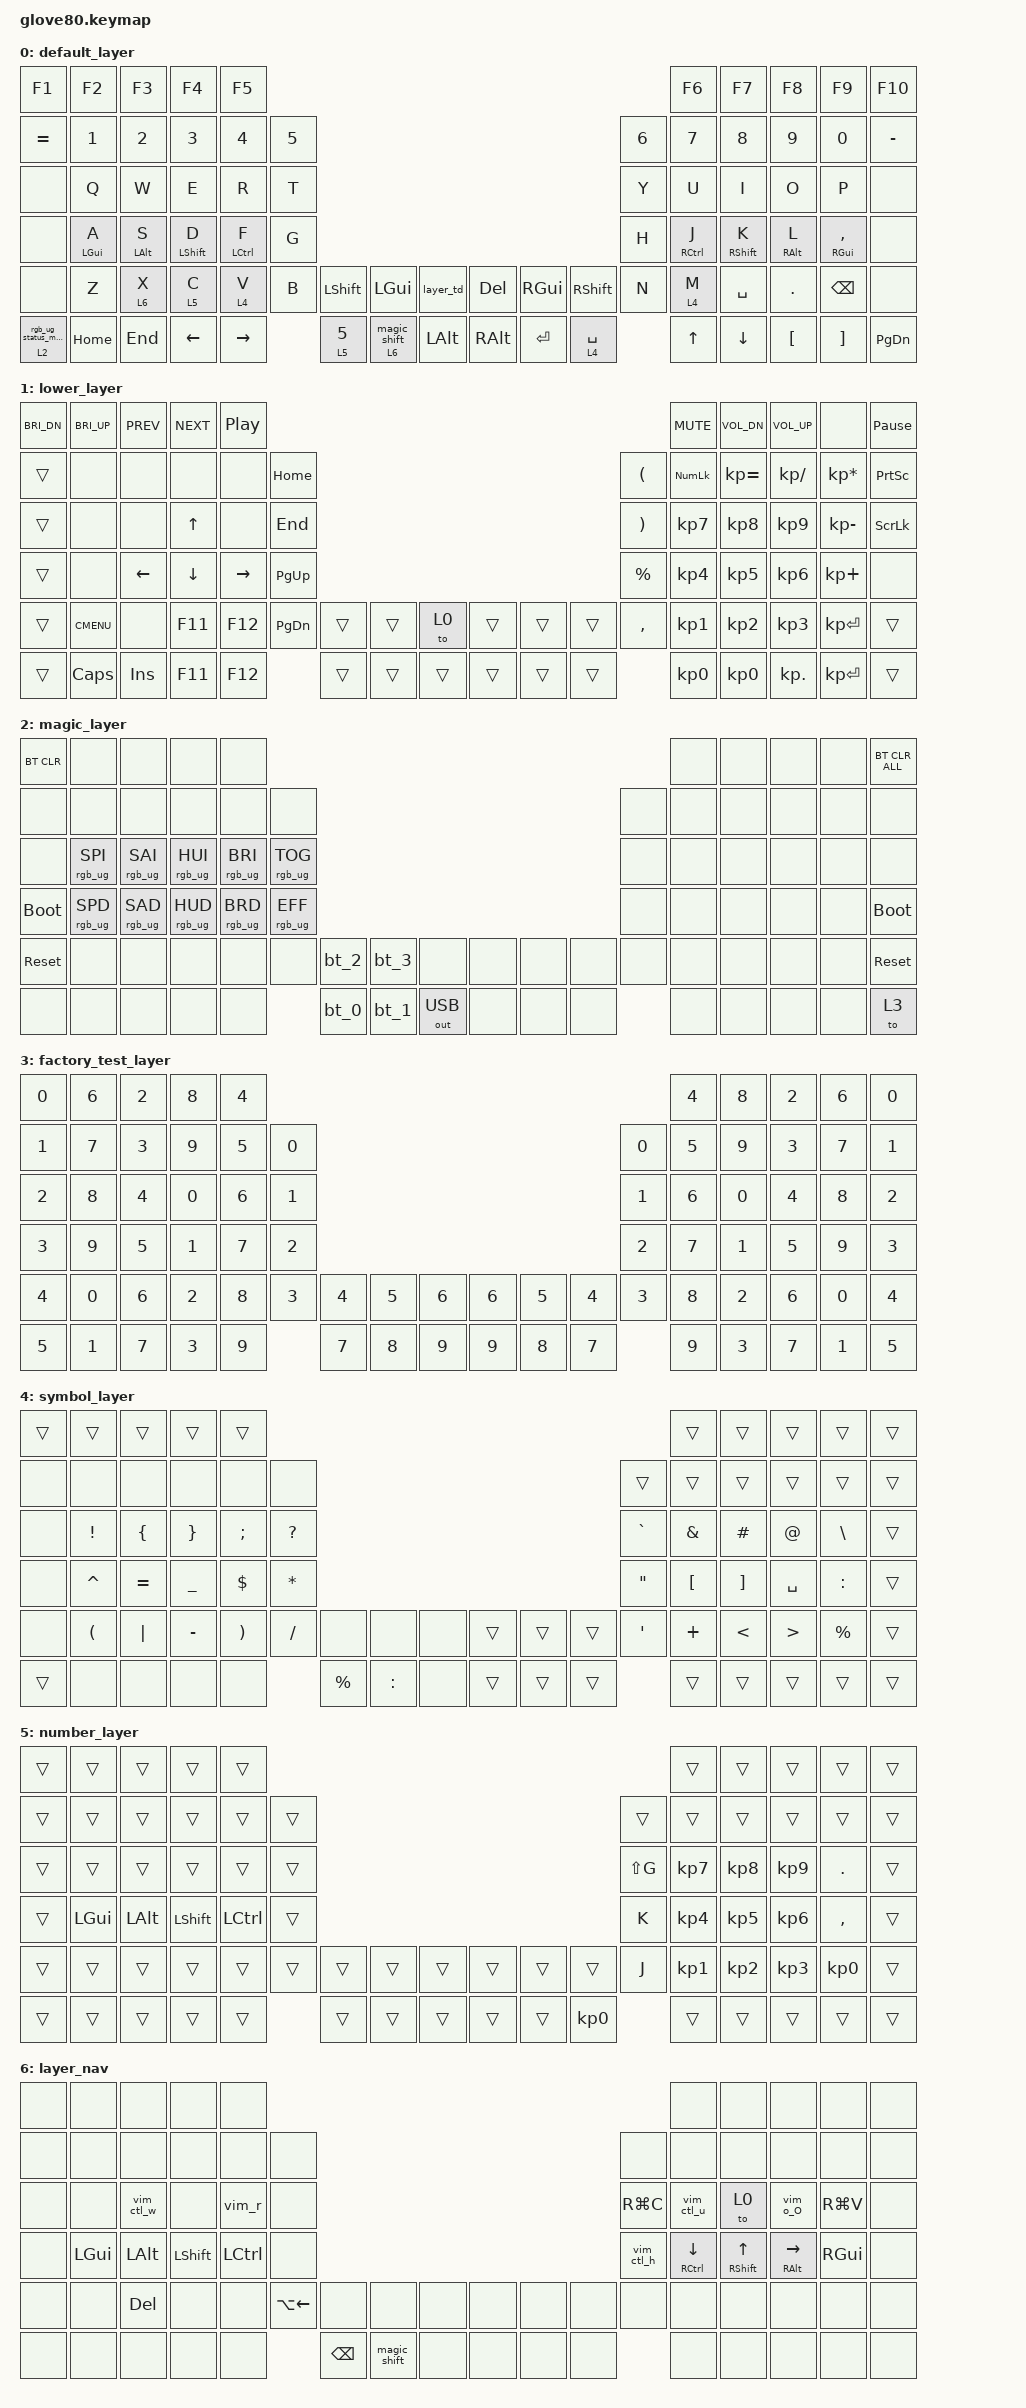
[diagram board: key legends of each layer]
/*
 * Copyright (c) 2020 The ZMK Contributors
 *
 * SPDX-License-Identifier: MIT
 */

#include "zmk-helpers/helper.h"
#include <behaviors/num_word.dtsi>
#include <behaviors.dtsi>
#include <dt-bindings/zmk/bt.h>
#include <dt-bindings/zmk/keys.h>
#include <dt-bindings/zmk/outputs.h>
#include <dt-bindings/zmk/rgb.h>

#define HYPER LC(LS(LG(LALT)))

// layers

#define DEFAULT 0
#define LOWER 1
#define MAGIC 2
#define FACTORY_TEST 3

// Global settings, taken from urob config
// https://github.com/urob/zmk-config/blob/784d3ea9351425e9cc11adc45ca34825546e2e99/config/base.keymap#L31

&sk {
    release-after-ms = <900>;
    quick-release;
};

&lt { quick-tap-ms = <150>; };

/ {
    behaviors {
        // For the "layer" key, it'd nice to be able to use it as either a shift or a toggle.
        // Configure it as a tap dance, so the first tap (or hold) is a &mo and the second tap is a &to

        layer_td: tap_dance_0 {
            compatible = "zmk,behavior-tap-dance";
            label = "LAYER_TAP_DANCE";
            #binding-cells = <0>;
            tapping-term-ms = <200>;
            bindings = <&mo 1>, <&to 1>;
        };

        magic: magic_hold_tap {
            compatible = "zmk,behavior-hold-tap";
            label = "MAGIC_HOLD_TAP";
            #binding-cells = <2>;
            flavor = "tap-preferred";
            tapping-term-ms = <200>;
            bindings = <&mo>, <&rgb_ug_status_macro>;
        };

        hml: hml {
            compatible = "zmk,behavior-hold-tap";
            label = "HML";
            bindings = <&kp>, <&kp>;

            #binding-cells = <2>;
            tapping-term-ms = <280>;
            quick-tap-ms = <175>;
            require-prior-idle-ms = <150>;
            flavor = "balanced";
            hold-trigger-key-positions = <16 28 40 58 5 17 29 41 59 75 6 7 8 9 18 19 20 21 30 31 32 33 42 43 44 45 60 61 62 63 76 77 78 79 40 58 58>;
            hold-trigger-on-release;
        };

        hmr: hmr {
            compatible = "zmk,behavior-hold-tap";
            label = "HMR";
            bindings = <&kp>, <&kp>;

            #binding-cells = <2>;
            tapping-term-ms = <280>;
            quick-tap-ms = <175>;
            require-prior-idle-ms = <150>;
            flavor = "balanced";
            hold-trigger-on-release;
            hold-trigger-key-positions = <0 1 10 11 12 13 14 15 22 23 24 25 26 27 34 35 36 37 38 39 46 47 48 49 50 51 64 65 66 67 68 2 3 4>;
        };

        magic_shift: magic_shift {
            compatible = "zmk,behavior-mod-morph";
            label = "MAGIC_SHIFT";
            bindings = <&sk LSHFT>, <&caps_word>;

            #binding-cells = <0>;
            mods = <(MOD_RSFT|MOD_LSFT)>;
        };

        vim_dd_taps: vim_dd_taps {
            compatible = "zmk,behavior-tap-dance";
            label = "VIM_DD_TAPS";
            #binding-cells = <0>;
            bindings = <&none>, <&vim_dd>;
        };

        vim_o_O: vim_o_O {
            compatible = "zmk,behavior-mod-morph";
            label = "VIM_O_O";
            bindings = <&vim_o>, <&vim_shft_o>;

            #binding-cells = <0>;
            mods = <(MOD_LSFT)>;
        };

        vim_ctl_w: vim_ctl_w {
            compatible = "zmk,behavior-mod-morph";
            label = "VIM_CTL_W";
            bindings = <&kp LA(RIGHT)>, <&kp LA(BACKSPACE)>;

            #binding-cells = <0>;
            mods = <(MOD_RCTL)>;
        };

        vim_ctl_u: vim_ctl_u {
            compatible = "zmk,behavior-mod-morph";
            label = "VIM_CTL_U";
            bindings = <&kp RG(Z)>, <&kp LG(BACKSPACE)>;

            #binding-cells = <0>;
            mods = <(MOD_LCTL)>;
        };

        vim_r: vim_r {
            compatible = "zmk,behavior-mod-morph";
            label = "VIM_R";
            bindings = <&none>, <&kp RG(RS(Z))>;

            #binding-cells = <0>;
            mods = <(MOD_RCTL)>;
        };

        vim_ctl_h: vim_ctl_h {
            compatible = "zmk,behavior-mod-morph";
            label = "VIM_CTL_H";
            bindings = <&kp LEFT>, <&kp H>;

            #binding-cells = <0>;
            mods = <(MOD_LCTL)>;
        };

        magic_num: magic_num {
            compatible = "zmk,behavior-hold-tap";
            label = "MAGIC_NUM";
            bindings = <&mo>, <&num_word>;

            #binding-cells = <2>;
            tapping-term-ms = <200>;
            quick-tap-ms = <175>;
            flavor = "balanced";
        };

        shift_nav: shift_nav {
            compatible = "zmk,behavior-hold-tap";
            label = "SHIFT_NAV";
            bindings = <&mo>, <&magic_shift>;

            #binding-cells = <2>;
            tapping-term-ms = <200>;
            flavor = "balanced";
            quick-tap-ms = <175>;
        };

        hml_layer: hml_layer {
            compatible = "zmk,behavior-hold-tap";
            label = "HML_LAYER";
            bindings = <&mo>, <&kp>;

            #binding-cells = <2>;
            tapping-term-ms = <280>;
            quick-tap-ms = <175>;
            require-prior-idle-ms = <150>;
            flavor = "balanced";
            hold-trigger-key-positions = <16 28 40 58 5 17 29 41 59 75 6 7 8 9 18 19 20 21 30 31 32 33 42 43 44 45 60 61 62 63 76 77 78 79 40 58 58>;
            hold-trigger-on-release;
        };

        hmr_layer: hmr_layer {
            compatible = "zmk,behavior-hold-tap";
            label = "HMR_LAYER";
            bindings = <&mo>, <&kp>;

            #binding-cells = <2>;
            tapping-term-ms = <280>;
            quick-tap-ms = <175>;
            require-prior-idle-ms = <150>;
            flavor = "balanced";
            hold-trigger-on-release;
            hold-trigger-key-positions = <0 1 10 11 12 13 14 15 22 23 24 25 26 27 34 35 36 37 38 39 46 47 48 49 50 51 64 65 66 67 68 2 3 4>;
        };
    };

    macros {
        rgb_ug_status_macro: rgb_ug_status_macro_0 {
            label = "RGB_UG_STATUS";
            compatible = "zmk,behavior-macro";
            #binding-cells = <0>;
            bindings = <&rgb_ug RGB_STATUS>;
        };

        bt_0: bt_profile_macro_0 {
            label = "BT_0";
            compatible = "zmk,behavior-macro";
            #binding-cells = <0>;
            bindings = <&out OUT_BLE &bt BT_SEL 0>;
        };

        bt_1: bt_profile_macro_1 {
            label = "BT_1";
            compatible = "zmk,behavior-macro";
            #binding-cells = <0>;
            bindings = <&out OUT_BLE &bt BT_SEL 1>;
        };

        bt_2: bt_profile_macro_2 {
            label = "BT_2";
            compatible = "zmk,behavior-macro";
            #binding-cells = <0>;
            bindings = <&out OUT_BLE &bt BT_SEL 2>;
        };

        bt_3: bt_profile_macro_3 {
            label = "BT_3";
            compatible = "zmk,behavior-macro";
            #binding-cells = <0>;
            bindings = <&out OUT_BLE &bt BT_SEL 3>;
        };

        vim_a: vim_a {
            compatible = "zmk,behavior-macro";
            #binding-cells = <0>;
            bindings = <&to 0 &kp RIGHT>;
            label = "VIM_A";
        };

        vim_o: vim_o {
            compatible = "zmk,behavior-macro";
            #binding-cells = <0>;
            bindings = <&kp LG(RIGHT) &kp LS(ENTER)>;
            label = "VIM_O";
        };

        vim_e: vim_e {
            compatible = "zmk,behavior-macro";
            #binding-cells = <0>;
            bindings = <&kp LA(RIGHT) &kp LEFT_ARROW>;
            label = "VIM_E";
        };

        vim_dd: vim_dd {
            compatible = "zmk,behavior-macro";
            #binding-cells = <0>;
            bindings = <&kp LG(RIGHT) &kp LG(BACKSPACE)>;
            label = "VIM_DD";
        };

        vim_shft_o: vim_shft_o {
            compatible = "zmk,behavior-macro";
            #binding-cells = <0>;
            bindings = <&kp LG(LEFT) &kp LS(ENTER)>;
            label = "VIM_SHFT_O";
        };
    };

    combos {
        compatible = "zmk,combos";

        // [a|s|d|f| | |j|k|l|:]
        // [z|x|c|v| | |m|,|.|%]
        // [x|x|-|-| | |-|-|-|-] = Tilde
        // [-|-|-|-| | |-|-|-|-]

        Tilde {
            bindings = <&kp TILDE>;
            key-positions = <36 35>;
            layers = <4>;
        };

        // [_|x|x|-| | |-|-|-|-] = Sticky Number
        // [_|x|x|-| | |-|-|-|-] = Hold Number

        StickyNumLayer {
            bindings = <&sl 5>;
            key-positions = <37 36>;
        };

        HoldNumLayer {
            bindings = <&mo 5>;
            key-positions = <49 48>;
        };

        // [_|_|x|x| | |-|-|-|-] = Magic Shift
        // [_|-|x|x| | |-|-|-|-] = Hold Nav

        MagicShiftCombo {
            bindings = <&magic_shift>;
            key-positions = <37 38>;
        };

        MomNavCombo {
            bindings = <&mo 6>;
            key-positions = <49 50>;
        };

        // [_|_|-|-| | |x|x|-|-] = Escape
        // [-|-|-|-| | |-|-|-|-]

        EscapeCombo {
            bindings = <&kp ESCAPE>;
            key-positions = <41 42>;
            timeout-ms = <30>;
            layers = <0>;
        };

        // [_|_|-|-| | |_|x|x|-] = Tab
        // [-|-|-|-| | |-|-|-|-]

        TabCombo {
            bindings = <&kp TAB>;
            key-positions = <43 42>;
        };
    };

    keymap {
        compatible = "zmk,keymap";

        default_layer {
            // ---------------------------------------------------------------------------------------------------------------------------------
            // |  F1   |  F2 |  F3 |  F4  |  F5  |                                                               |  F6   |  F7   |  F8  |   F9  |  F10 |
            // |  =    |  1  |  2  |  3   |  4   |  5   |                                                 |  6   |   7   |   8   |  9   |   0   |   -  |
            // |  TAB  |  Q  |  W  |  E   |  R   |  T   |                                                 |  Y   |   U   |   I   |  O   |   P   |   \  |
            // |  ESC  |  A  |  S  |  D   |  F   |  G   |                                                 |  H   |   J   |   K   |  L   |   ;   |   '  |
            // |   `   |  Z  |  X  |  C   |  V   |  B   | LSHFT | LGUI  | LOWER | | DEL   | RGUI  | RSHFT |  N   |   M   |   ,   |  .   |   /   | PGUP |
            // | MAGIC | HOME| END | LEFT | RIGHT|      | BSPC  | ESC   | LALT  | | RALT  | RET   | SPACE |      |  UP   | DOWN  |  [   |   ]   | PGDN |

            bindings = <
&kp F1      &kp F2           &kp F3          &kp F4             &kp F5                                                                                                        &kp F6          &kp F7              &kp F8       &kp F9                &kp F10
&kp EQUAL   &kp N1           &kp N2          &kp N3             &kp N4          &kp N5                                                                                &kp N6  &kp N7          &kp N8              &kp N9       &kp N0                &kp MINUS
&none       &kp Q            &kp W           &kp E              &kp R           &kp T                                                                                 &kp Y   &kp U           &kp I               &kp O        &kp P                 &none
&none       &hml LEFT_GUI A  &hml LALT S     &hml LEFT_SHIFT D  &hml LCTRL F    &kp G                                                                                 &kp H   &hmr RCTRL J    &hmr RIGHT_SHIFT K  &hmr RALT L  &hmr RIGHT_GUI COMMA  &none
&none       &kp Z            &hml_layer 6 X  &hml_layer 5 C     &hml_layer 4 V  &kp B   &kp LSHFT       &kp LGUI        &layer_td  &kp DELETE  &kp RGUI  &kp RSHFT    &kp N   &hmr_layer 4 M  &kp SPACE           &kp DOT      &kp BACKSPACE         &none
&magic 2 0  &kp HOME         &kp END         &kp LEFT           &kp RIGHT               &magic_num 5 5  &shift_nav 6 0  &kp LALT   &kp RALT    &kp RET   &lt 4 SPACE          &kp UP          &kp DOWN            &kp LBKT     &kp RBKT              &kp PG_DN
            >;
        };

        lower_layer {
            bindings = <
&kp C_BRI_DN  &kp C_BRI_UP  &kp C_PREV  &kp C_NEXT  &kp C_PP                                                                         &kp C_MUTE  &kp C_VOL_DN  &kp C_VOL_UP   &none            &kp PAUSE_BREAK
&trans        &none         &none       &none       &none      &kp HOME                                                   &kp LPAR   &kp KP_NUM  &kp KP_EQUAL  &kp KP_DIVIDE  &kp KP_MULTIPLY  &kp PSCRN
&trans        &none         &none       &kp UP      &none      &kp END                                                    &kp RPAR   &kp KP_N7   &kp KP_N8     &kp KP_N9      &kp KP_MINUS     &kp SLCK
&trans        &none         &kp LEFT    &kp DOWN    &kp RIGHT  &kp PG_UP                                                  &kp PRCNT  &kp KP_N4   &kp KP_N5     &kp KP_N6      &kp KP_PLUS      &none
&trans        &kp K_CMENU   &none       &kp F11     &kp F12    &kp PG_DN  &trans  &trans  &to 0   &trans  &trans  &trans  &kp COMMA  &kp KP_N1   &kp KP_N2     &kp KP_N3      &kp KP_ENTER     &trans
&trans        &kp CAPS      &kp INS     &kp F11     &kp F12               &trans  &trans  &trans  &trans  &trans  &trans             &kp KP_N0   &kp KP_N0     &kp KP_DOT     &kp KP_ENTER     &trans
            >;
        };

        magic_layer {
            bindings = <
&bt BT_CLR   &none            &none            &none            &none                                                                                     &none  &none  &none  &none  &bt BT_CLR_ALL
&none        &none            &none            &none            &none            &none                                                             &none  &none  &none  &none  &none  &none
&none        &rgb_ug RGB_SPI  &rgb_ug RGB_SAI  &rgb_ug RGB_HUI  &rgb_ug RGB_BRI  &rgb_ug RGB_TOG                                                   &none  &none  &none  &none  &none  &none
&bootloader  &rgb_ug RGB_SPD  &rgb_ug RGB_SAD  &rgb_ug RGB_HUD  &rgb_ug RGB_BRD  &rgb_ug RGB_EFF                                                   &none  &none  &none  &none  &none  &bootloader
&sys_reset   &none            &none            &none            &none            &none            &bt_2  &bt_3  &none         &none  &none  &none  &none  &none  &none  &none  &none  &sys_reset
&none        &none            &none            &none            &none                             &bt_0  &bt_1  &out OUT_USB  &none  &none  &none         &none  &none  &none  &none  &to 3
            >;
        };

        factory_test_layer {
            bindings = <
&kp N0  &kp N6  &kp N2  &kp N8  &kp N4                                                                  &kp N4  &kp N8  &kp N2  &kp N6  &kp N0
&kp N1  &kp N7  &kp N3  &kp N9  &kp N5  &kp N0                                                  &kp N0  &kp N5  &kp N9  &kp N3  &kp N7  &kp N1
&kp N2  &kp N8  &kp N4  &kp N0  &kp N6  &kp N1                                                  &kp N1  &kp N6  &kp N0  &kp N4  &kp N8  &kp N2
&kp N3  &kp N9  &kp N5  &kp N1  &kp N7  &kp N2                                                  &kp N2  &kp N7  &kp N1  &kp N5  &kp N9  &kp N3
&kp N4  &kp N0  &kp N6  &kp N2  &kp N8  &kp N3  &kp N4  &kp N5  &kp N6  &kp N6  &kp N5  &kp N4  &kp N3  &kp N8  &kp N2  &kp N6  &kp N0  &kp N4
&kp N5  &kp N1  &kp N7  &kp N3  &kp N9          &kp N7  &kp N8  &kp N9  &kp N9  &kp N8  &kp N7          &kp N9  &kp N3  &kp N7  &kp N1  &kp N5
            >;
        };

        symbol_layer {
            bindings = <
&trans  &trans                &trans          &trans           &trans                                                                                                         &trans            &trans             &trans            &trans         &trans
&none   &none                 &none           &none            &none                  &none                                                                &trans             &trans            &trans             &trans            &trans         &trans
&none   &kp EXCLAMATION       &kp LEFT_BRACE  &kp RIGHT_BRACE  &kp SEMICOLON          &kp QUESTION                                                         &kp GRAVE          &kp AMPERSAND     &kp HASH           &kp AT_SIGN       &kp BACKSLASH  &trans
&none   &kp CARET             &kp EQUAL       &kp UNDERSCORE   &kp DOLLAR             &kp ASTERISK                                                         &kp DOUBLE_QUOTES  &kp LEFT_BRACKET  &kp RIGHT_BRACKET  &kp SPACE         &kp COLON      &trans
&none   &kp LEFT_PARENTHESIS  &kp PIPE        &kp MINUS        &kp RIGHT_PARENTHESIS  &kp SLASH     &none        &none      &none  &trans  &trans  &trans  &kp SQT            &kp PLUS          &kp LESS_THAN      &kp GREATER_THAN  &kp PERCENT    &trans
&trans  &none                 &none           &none            &none                                &kp PERCENT  &kp COLON  &none  &trans  &trans  &trans                     &trans            &trans             &trans            &trans         &trans
            >;
        };

        number_layer {
            bindings = <
&trans  &trans    &trans    &trans      &trans                                                                                 &trans           &trans           &trans           &trans           &trans
&trans  &trans    &trans    &trans      &trans     &trans                                                           &trans     &trans           &trans           &trans           &trans           &trans
&trans  &trans    &trans    &trans      &trans     &trans                                                           &kp LS(G)  &kp KP_NUMBER_7  &kp KP_NUMBER_8  &kp KP_NUMBER_9  &kp DOT          &trans
&trans  &kp LGUI  &kp LALT  &kp LSHIFT  &kp LCTRL  &trans                                                           &kp K      &kp KP_NUMBER_4  &kp KP_NUMBER_5  &kp KP_NUMBER_6  &kp COMMA        &trans
&trans  &trans    &trans    &trans      &trans     &trans  &trans  &trans  &trans  &trans  &trans  &trans           &kp J      &kp KP_NUMBER_1  &kp KP_NUMBER_2  &kp KP_NUMBER_3  &kp KP_NUMBER_0  &trans
&trans  &trans    &trans    &trans      &trans             &trans  &trans  &trans  &trans  &trans  &kp KP_NUMBER_0             &trans           &trans           &trans           &trans           &trans
            >;
        };

        layer_nav {
            bindings = <
&none  &none     &none       &none       &none                                                                                               &none            &none          &none                 &none      &none
&none  &none     &none       &none       &none      &none                                                                        &none       &none            &none          &none                 &none      &none
&none  &none     &vim_ctl_w  &none       &vim_r     &none                                                                        &kp RG(C)   &vim_ctl_u       &to 0          &vim_o_O              &kp RG(V)  &none
&none  &kp LGUI  &kp LALT    &kp LSHIFT  &kp LCTRL  &none                                                                        &vim_ctl_h  &hmr RCTRL DOWN  &hmr RSHFT UP  &hmr RIGHT_ALT RIGHT  &kp RGUI   &none
&none  &none     &kp DELETE  &none       &none      &kp LA(LEFT_ARROW)  &none          &none         &none  &none  &none  &none  &none       &none            &none          &none                 &none      &none
&none  &none     &none       &none       &none                          &kp BACKSPACE  &magic_shift  &none  &none  &none  &none              &none            &none          &none                 &none      &none
            >;
        };
    };
};
